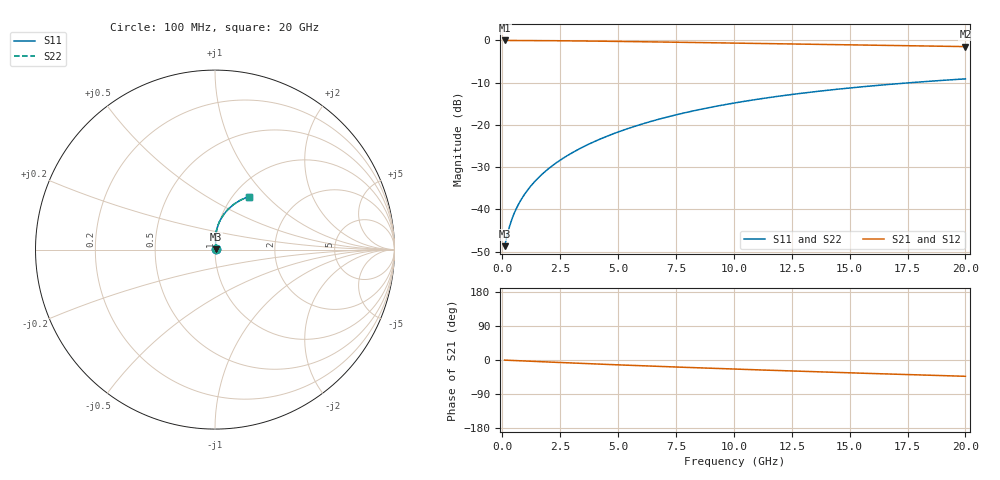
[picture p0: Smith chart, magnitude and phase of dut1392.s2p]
! Touchstone file exported from HFSS 2024.1.0
!  File:  C:/UserFiles/LocalFiles/RDL_TSV_Batchsim/temp_RDL_top_1392_1780367775.aedt
!  Generated:  10:38:21 AM Jun  2, 2026
!  Design:  RDL_top
!  Project:  temp_RDL_top_1392_1780367775
!  Setup:  Setup1
!  Solution:  Sweep
! Variables:
!  dtsv = 10.80580581um
!  hbump = 3um
!  htsv = 56.59um
!  ldown = 100um
!  lrdl = 629.73um
!  p = 40
!  p1 = 51.42um
!  rhole = 1um
!  t = 450um
!  tdown = 3.915915916um
!  trdl = 2.85um
!  wdown = 15.38538539um
!  wrdl = 26.65um
# GHz S MA R 50.000000
! Terminal data exported
! Port[1] = Box2_T1
! Port[2] = Box2_T2
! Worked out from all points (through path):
!   200 points, 100 MHz to 20 GHz, reference 50 ohm
!   highest |S21| = -0.03 dB at 100 MHz (marker M1); lowest = -1.5 dB at 20 GHz (marker M2)
!   group delay of S21, straight-line fit = 5.9 ps
!   lowest |S11| = -48.7 dB at 100 MHz (marker M3), VSWR 1.01, Z = 50.3 + j0.175 ohm
!   |S11| at or under -10 dB: start of sweep to 17.69 GHz
!   |S22| runs from -48.7 to -9.1 dB; largest |S21 - S12| = 3.2e-15
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0.1  0.003657 28.4  0.9968 -0.3  0.9968 -0.3  0.003657 28.4
! Gamma 0 0 0 0
! Port Impedance 50 0 50 0
0.2  0.004791 45.2  0.9966 -0.6  0.9966 -0.6  0.004791 45.2
0.3  0.006104 54.3  0.9963 -0.8  0.9963 -0.8  0.006103 54.3
0.4  0.007441 60.0  0.996 -1.1  0.996 -1.1  0.007441 60.0
0.5  0.008776 64.1  0.9958 -1.4  0.9958 -1.4  0.008775 64.1
0.6  0.01011 67.2  0.9955 -1.6  0.9955 -1.6  0.01011 67.2
0.8  0.01281 71.9  0.9951 -2.2  0.9951 -2.2  0.01281 71.9
1  0.01558 75.2  0.9946 -2.7  0.9946 -2.7  0.01558 75.2
1.2  0.0184 77.7  0.994 -3.2  0.994 -3.2  0.0184 77.7
1.7  0.02572 81.8  0.9923 -4.5  0.9923 -4.5  0.02572 81.9
2.2  0.03339 84.3  0.9901 -5.8  0.9901 -5.8  0.03339 84.3
2.8  0.04303 86.0  0.9869 -7.4  0.9869 -7.4  0.04304 86.0
3.5  0.05488 87.0  0.9825 -9.2  0.9825 -9.2  0.05489 87.0
4.2  0.06733 87.2  0.9776 -10.9  0.9776 -10.9  0.06735 87.3
5  0.08217 86.9  0.9713 -12.8  0.9713 -12.8  0.08221 87.0
6.8  0.1172 84.7  0.9562 -17.0  0.9562 -17.0  0.1173 84.7
8.4  0.1492 81.7  0.9422 -20.5  0.9422 -20.5  0.1493 81.7
10.1  0.1828 78.1  0.9272 -24.1  0.9272 -24.1  0.183 78.2
11.7  0.2136 74.6  0.9132 -27.3  0.9132 -27.3  0.2138 74.6
13.4  0.2449 70.8  0.8985 -30.7  0.8985 -30.7  0.2451 70.9
16.7  0.3008 63.8  0.8704 -37.0  0.8704 -37.0  0.3011 63.9
20  0.3498 57.3  0.8431 -43.0  0.8431 -43.0  0.3502 57.4
